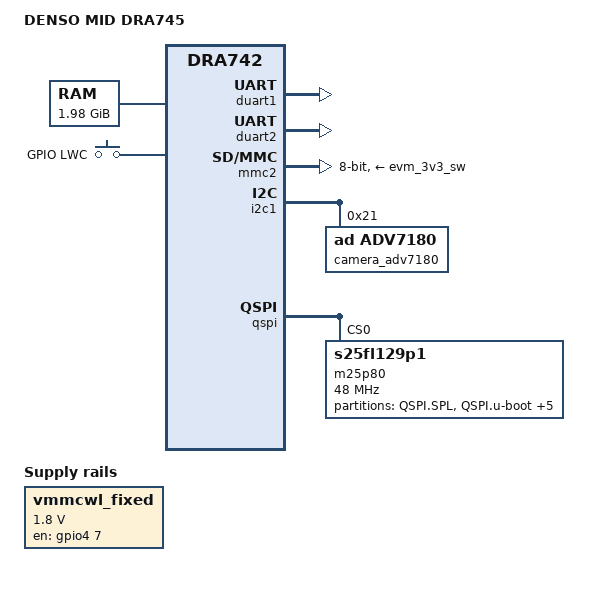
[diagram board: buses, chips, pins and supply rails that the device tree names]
/*
 * Copyright (C) 2013 Texas Instruments Incorporated - http://www.ti.com/
 *
 * This program is free software; you can redistribute it and/or modify
 * it under the terms of the GNU General Public License version 2 as
 * published by the Free Software Foundation.
 */
/dts-v1/;

#include "dra74x.dtsi"
#include <dt-bindings/interrupt-controller/irq.h>
#include <dt-bindings/gpio/gpio.h>
#include <dt-bindings/clk/ti-dra7-atl.h>
#include "dra7-densoJ6.dtsi"
#include "dra7-gen1Display.dtsi"

/ {

	model = "DENSO MID DRA745";
	compatible = "denso,dra74xmid", "ti,dra742", "ti,dra74", "ti,dra7";

	memory {
		device_type = "memory";
		reg = <0x0 0x80000000 0x0 0x7F000000>; /* 2Gbyte = 2048 MB -16MB for alignment calcs */
	};

	vmmcwl_fixed: fixedregulator-mmcwl {
		compatible = "regulator-fixed";
		regulator-name = "vmmcwl_fixed";
		regulator-min-microvolt = <1800000>;
		regulator-max-microvolt = <1800000>;
		gpio = <&gpio4 7 0>;	/* gpio4_7 Denso WiFi Enabled */
		startup-delay-us = <70000>;
		enable-active-high;
	};

	aliases {
		serial11 = &duart1;
		serial12 = &duart2;
	};

	gpio_keys_polled {
		compatible = "gpio-keys-polled";
		#address-cells = <1>;
		#size-cells = <0>;
		poll-interval = <100>;
		status = "okay";
		button-lwc {
			label = "GPIO LWC";
			linux,code = <68>; /* KEY_F10 */
			lwc-gpios = <501 GPIO_ACTIVE_LOW>;
		};
	};

	duart1: serial@03000000 {
		compatible = "ti,tl16c752-uart";
		reg = <0x0 0x03000000 0x0 0x40>;
		clock-frequency = <14745600>;
		/* irq setup */
		interrupt-controller;
		interrupt-parent = <&gpio6>;
		interrupts = <8 IRQ_TYPE_EDGE_RISING>;
		interrupt-names = "duart1 int";
		#interrupt-cells = <2>;
		status = "okay";
	};

	duart2: serial@07000000 {
		compatible = "ti,tl16c752-uart";
		reg = <0x0 0x07000000 0x0 0x40>;
		clock-frequency = <14745600>;
		/* irq setup */
		interrupt-controller;
		interrupt-parent = <&gpio6>;
		interrupts = <9 IRQ_TYPE_EDGE_RISING>;
		interrupt-names = "duart2 int";
		#interrupt-cells = <2>;
		status = "okay";
	};
};

&mmc2 {
	status = "okay";
	vmmc-supply = <&evm_3v3_sw>;
	bus-width = <8>;
	pinctrl-names = "default", "hs", "hs200";
	pinctrl-0 = <&mmc2_pins_default>;
	pinctrl-1 = <&mmc2_pins_hs>;
	pinctrl-2 = <&mmc2_pins_hs200 &mmc2_iodelay_hs200_conf>;
	mmc-hs200-1_8v;
	max-frequency = <192000000>;
};

&i2c1 {
	camera_adv7180: camera_adv7180 {
		compatible = "ad,adv7180";
		reg = <0x21>;
		/*gpios = <&gpio5 25 0>;   only one if IRQ is being used */
		/* interrupts = <27 0x8>; Invalid value */

		port {
			adv7180: endpoint@0 {
				// No props incase of BT656
				/* hsync-active = <0>; This signal is embedded */
				/* vsync-active = <0>; This signal is embedded */
				/* bus-width = <8>; John thinks this is not needed */
			};
		};
	};
};

&voltdm_mpu {
	vdd-supply = <&smps12_reg>;
};

&qspi {
	status = "okay";

	spi-max-frequency = <48000000>;
	m25p80@0 {
		compatible = "s25fl129p1";
		spi-max-frequency = <48000000>;
		reg = <0>;
		spi-tx-bus-width = <1>;
		spi-rx-bus-width = <4>;
		spi-cpol;
		spi-cpha;
		#address-cells = <1>;
		#size-cells = <1>;

		/* MTD partition table.
		 * The ROM checks the first four physical blocks
		 * for a valid file to boot and the flash here is
		 * 64KiB block size.
		 */
		partition@0 {
			label = "QSPI.SPL";
			reg = <0x00000000 0x000020000>;
		};
		partition@1 {
			label = "QSPI.u-boot";
			reg = <0x00080000 0x00080000>;
		};
		partition@2 {
			label = "QSPI.denso-primary";
			reg = <0x00fd0000 0x00010000>;
		};
		partition@3 {
			label = "QSPI.denso-secondary";
			reg = <0x00fe0000 0x00010000>;
		};
		partition@4 {
			label = "QSPI.denso-readonly";
			reg = <0x00ff0000 0x00010000>;
		};
		partition@5 {
			label = "QSPI.denso-bootflags";
			reg = <0x00fc0000 0x00010000>;
		};
		partition@6 {
			label = "QSPI.denso-otp";
			/* Secure Silicon Sector
			 *   Document: S25FL256S.pdf
			 *   Table 8.7
			 *   Page: 58
			 *	 Valid Sector: 0x00 - 0x3FF
			 */
			reg = <0x00000000 0x00010000>;
		};
	};
};
